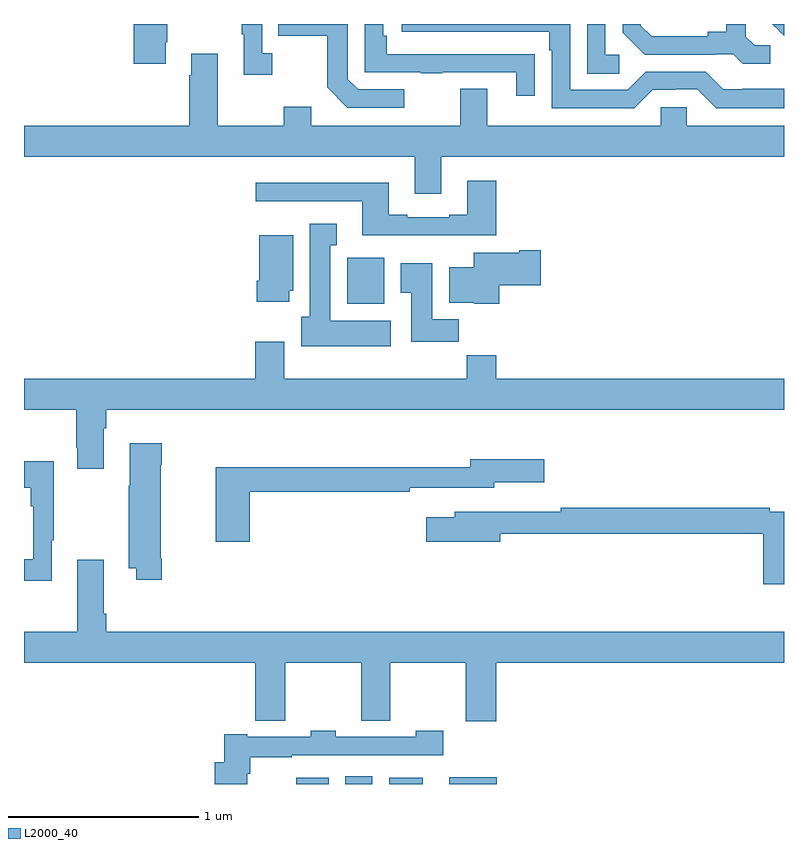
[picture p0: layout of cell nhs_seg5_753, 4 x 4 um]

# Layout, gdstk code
import gdstk
lib = gdstk.Library(unit=1e-6, precision=1e-09)
def R(c, l, rs):  # rectangles x0, y0, x1, y1
    for r in rs: c.add(gdstk.rectangle(r[:2], r[2:], *l))
def P(c, l, *ps):  # polygons
    for p in ps: c.add(gdstk.Polygon(p, *l))
L2000_40 = (2000, 40)

nhs_seg5_753 = lib.new_cell('nhs_seg5_753')
R(nhs_seg5_753, L2000_40, [(160.433,846.799,160.603,846.832), (160.691,846.799,160.834,846.841), (160.922,846.799,161.098,846.832), (161.237,846.799,161.488,846.835), (160.7,849.326,160.897,849.568)])
P(nhs_seg5_753, L2000_40, [(162.928,850.686),(162.846,850.686),(162.799,850.733),(162.799,850.799),(162.695,850.799),(162.695,850.757),(162.599,850.757),(162.599,850.734),(162.304,850.734),(162.247,850.791),(162.247,850.799),(162.15,850.799),(162.15,850.754),(162.266,850.638),(162.638,850.638),(162.638,850.641),(162.732,850.641),(162.784,850.589),(162.928,850.589)],
  [(162.133,850.638),(162.06,850.638),(162.06,850.799),(161.964,850.799),(161.964,850.537),(162.133,850.537)],
  [(163,850.799),(162.939,850.799),(162.973,850.765),(162.972,850.764),(163,850.736)],
  [(163,850.459),(162.781,850.459),(162.781,850.455),(162.681,850.455),(162.588,850.548),(162.273,850.548),(162.177,850.452),(161.874,850.452),(161.874,850.799),(160.989,850.799),(160.989,850.758),(161.765,850.758),(161.765,850.661),(161.778,850.661),(161.778,850.356),(162.213,850.356),(162.309,850.452),(162.428,850.452),(162.428,850.455),(162.543,850.455),(162.643,850.355),(163,850.355)],
  [(160.306,850.646),(160.254,850.646),(160.254,850.799),(160.146,850.799),(160.146,850.745),(160.157,850.745),(160.157,850.533),(160.306,850.533)],
  [(161.002,850.455),(160.758,850.455),(160.704,850.509),(160.704,850.799),(160.339,850.799),(160.339,850.738),(160.596,850.738),(160.596,850.465),(160.701,850.359),(161.002,850.359)],
  [(159.745,850.702),(159.753,850.702),(159.753,850.799),(159.578,850.799),(159.578,850.59),(159.745,850.59)],
  [(161.687,850.64),(161.585,850.64),(161.585,850.641),(160.91,850.641),(160.91,850.738),(160.89,850.738),(160.89,850.799),(160.794,850.799),(160.794,850.545),(161.089,850.545),(161.089,850.54),(161.201,850.54),(161.201,850.545),(161.591,850.545),(161.591,850.422),(161.687,850.422)],
  [(161.197,850.1),(163,850.1),(163,850.264),(162.489,850.264),(162.489,850.362),(162.351,850.362),(162.351,850.264),(161.437,850.264),(161.437,850.459),(161.297,850.459),(161.297,850.264),(160.513,850.264),(160.513,850.363),(160.366,850.363),(160.366,850.264),(160.021,850.264),(160.021,850.642),(159.881,850.642),(159.881,850.529),(159.869,850.529),(159.869,850.264),(159,850.264),(159,850.1),(161.057,850.1),(161.057,849.906),(161.197,849.906)],
  [(161.486,849.973),(161.333,849.973),(161.333,849.796),(161.237,849.796),(161.237,849.783),(161.017,849.783),(161.017,849.796),(160.921,849.796),(160.921,849.964),(160.221,849.964),(160.221,849.867),(160.781,849.867),(160.781,849.686),(161.486,849.686)],
  [(160.93,849.238),(160.612,849.238),(160.612,849.635),(160.645,849.635),(160.645,849.748),(160.505,849.748),(160.505,849.258),(160.46,849.258),(160.46,849.104),(160.93,849.104)],
  [(160.396,849.396),(160.417,849.396),(160.417,849.688),(160.238,849.688),(160.238,849.448),(160.226,849.448),(160.226,849.336),(160.396,849.336)],
  [(161.501,849.425),(161.719,849.425),(161.719,849.608),(161.606,849.608),(161.606,849.595),(161.366,849.595),(161.366,849.52),(161.237,849.52),(161.237,849.332),(161.37,849.332),(161.37,849.326),(161.501,849.326)],
  [(161.288,849.244),(161.149,849.244),(161.149,849.541),(160.982,849.541),(160.982,849.385),(161.039,849.385),(161.039,849.126),(161.288,849.126)],
  [(159.421,848.672),(159.434,848.672),(159.434,848.768),(163,848.768),(163,848.932),(161.486,848.932),(161.486,849.056),(161.329,849.056),(161.329,848.932),(160.369,848.932),(160.369,849.127),(160.217,849.127),(160.217,848.932),(159,848.932),(159,848.768),(159.274,848.768),(159.274,848.569),(159.281,848.569),(159.281,848.457),(159.421,848.457)],
  [(159.725,847.987),(159.72,847.987),(159.72,848.48),(159.725,848.48),(159.725,848.593),(159.557,848.593),(159.557,848.369),(159.55,848.369),(159.55,847.934),(159.59,847.934),(159.59,847.875),(159.725,847.875)],
  [(160.187,848.338),(161.03,848.338),(161.03,848.358),(161.476,848.358),(161.476,848.387),(161.737,848.387),(161.737,848.509),(161.348,848.509),(161.348,848.467),(160.009,848.467),(160.009,848.073),(160.187,848.073)],
  [(159.145,848.081),(159.157,848.081),(159.157,848.497),(159,848.497),(159,848.357),(159.036,848.357),(159.036,848.261),(159.048,848.261),(159.048,847.982),(159,847.982),(159,847.869),(159.145,847.869)],
  [(163,848.232),(162.926,848.232),(162.926,848.252),(161.824,848.252),(161.824,848.233),(161.267,848.233),(161.267,848.203),(161.118,848.203),(161.118,848.074),(161.506,848.074),(161.506,848.116),(162.89,848.116),(162.89,847.851),(163,847.851)],
  [(161.486,847.436),(163,847.436),(163,847.6),(159.434,847.6),(159.434,847.696),(159.421,847.696),(159.421,847.978),(159.281,847.978),(159.281,847.6),(159,847.6),(159,847.436),(160.217,847.436),(160.217,847.132),(160.376,847.132),(160.376,847.436),(160.774,847.436),(160.774,847.132),(160.928,847.132),(160.928,847.436),(161.326,847.436),(161.326,847.128),(161.486,847.128)],
  [(160.174,846.854),(160.192,846.854),(160.192,846.939),(160.409,846.939),(160.409,846.951),(161.206,846.951),(161.206,847.08),(161.061,847.08),(161.061,847.047),(160.641,847.047),(160.641,847.08),(160.509,847.08),(160.509,847.047),(160.174,847.047),(160.174,847.06),(160.053,847.06),(160.053,846.913),(160.004,846.913),(160.004,846.799),(160.174,846.799)])

lib.write_gds('nhs_seg5_753.gds')
